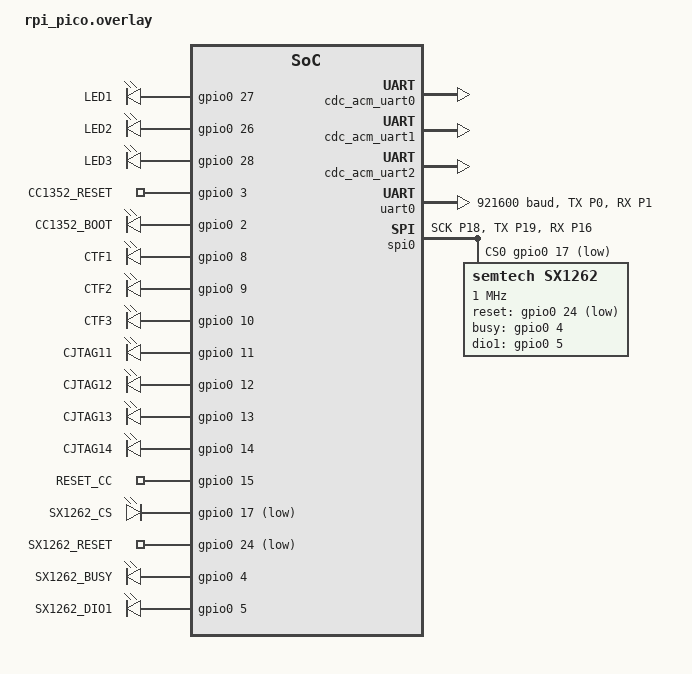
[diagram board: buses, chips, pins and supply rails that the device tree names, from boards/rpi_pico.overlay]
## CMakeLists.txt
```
# SPDX-License-Identifier: Apache-2.0

cmake_minimum_required(VERSION 3.13.1)
find_package(Zephyr REQUIRED HINTS $ENV{ZEPHYR_BASE})

project(catsniffer LANGUAGES C)

set(CATSNIFFER_FW_VERSION "" CACHE STRING "Firmware version label (for releases)")
if(DEFINED ENV{CATSNIFFER_FW_VERSION} AND NOT "$ENV{CATSNIFFER_FW_VERSION}" STREQUAL "")
    set(CATSNIFFER_FW_VERSION "$ENV{CATSNIFFER_FW_VERSION}" CACHE STRING "Firmware version label (for releases)" FORCE)
endif()

find_package(Git QUIET)
set(CATSNIFFER_GIT_SHA "unknown")
set(CATSNIFFER_GIT_DIRTY "unknown")
if(GIT_FOUND)
    execute_process(
        COMMAND ${GIT_EXECUTABLE} -C ${CMAKE_SOURCE_DIR} rev-parse --short HEAD
        OUTPUT_VARIABLE CATSNIFFER_GIT_SHA
        OUTPUT_STRIP_TRAILING_WHITESPACE
        ERROR_QUIET
    )
    execute_process(
        COMMAND ${GIT_EXECUTABLE} -C ${CMAKE_SOURCE_DIR} status --porcelain --untracked-files=no
        OUTPUT_VARIABLE CATSNIFFER_GIT_STATUS
        OUTPUT_STRIP_TRAILING_WHITESPACE
        ERROR_QUIET
    )
    if(CATSNIFFER_GIT_STATUS STREQUAL "")
        set(CATSNIFFER_GIT_DIRTY "clean")
    else()
        set(CATSNIFFER_GIT_DIRTY "dirty")
    endif()
endif()

if(NOT CATSNIFFER_FW_VERSION)
    set(CATSNIFFER_FW_VERSION "dev-${CATSNIFFER_GIT_SHA}-${CATSNIFFER_GIT_DIRTY}")
endif()

string(TIMESTAMP CATSNIFFER_BUILD_TIME_UTC "%Y-%m-%dT%H:%M:%SZ" UTC)
set(CATSNIFFER_COMPILER_ID "${CMAKE_C_COMPILER_ID}")
set(CATSNIFFER_COMPILER_VERSION "${CMAKE_C_COMPILER_VERSION}")

configure_file(
    ${CMAKE_SOURCE_DIR}/include/fw_version.h.in
    ${CMAKE_BINARY_DIR}/generated/fw_version.h
    @ONLY
)

target_include_directories(app PRIVATE ${CMAKE_SOURCE_DIR}/include)
target_include_directories(app PRIVATE ${CMAKE_BINARY_DIR}/generated)

# Include SX126x driver header for FSK functions
target_include_directories(app PRIVATE ${ZEPHYR_BASE}/drivers/lora/native/sx126x)

FILE(GLOB app_sources src/*.c)

# Add local usb init
target_sources_ifdef(CONFIG_USB_DEVICE_STACK_NEXT app PRIVATE
    src/USB/usbd_init.c
    src/shell_commands.c
)

target_sources(app PRIVATE ${app_sources})
```

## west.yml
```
manifest:
  version: "1.2"

  remotes:
    - name: wero1414
      url-base: https://github.com/wero1414

  projects:
    - name: zephyr
      remote: wero1414
      revision: fsk-native-driver
      import: true

  self:
    path: example-application
```

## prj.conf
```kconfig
# Copyright (c) 2021 Nordic Semiconductor ASA
# SPDX-License-Identifier: Apache-2.0
#
# This file contains selected Kconfig options for the application.

# Enable console over USB
CONFIG_SERIAL=y
CONFIG_UART_INTERRUPT_DRIVEN=y
CONFIG_UART_LINE_CTRL=y

# Use only the new USB device stack
CONFIG_USB_DEVICE_STACK_NEXT=y
CONFIG_USBD_CDC_ACM_CLASS=y

# ADD THESE SPI CONFIGURATIONS:
CONFIG_SPI=y
CONFIG_LORA=y
CONFIG_GPIO=y
CONFIG_FLASH=y
CONFIG_FLASH_MAP=y
CONFIG_NVS=y
CONFIG_SETTINGS=y
CONFIG_SETTINGS_NVS=y

# Use native SX126x driver
CONFIG_LORA_MODULE_BACKEND_NATIVE=y
# Old driver disabled (native driver will be used instead)
# CONFIG_LORA_SX126X=y

# Enable unique serial number from chip ID
CONFIG_HWINFO=y

# Optional: Logging levels for debugging
CONFIG_LOG=n
CONFIG_CONSOLE=n
CONFIG_UART_CONSOLE=n
CONFIG_LOG=n
CONFIG_PRINTK=n
CONFIG_USBD_LOG_LEVEL_WRN=n
CONFIG_UDC_DRIVER_LOG_LEVEL_WRN=n
CONFIG_USBD_CDC_ACM_LOG_LEVEL_ERR=n


# Optional: USB product strings
CONFIG_SAMPLE_USBD_PID=0xBABB
CONFIG_SAMPLE_USBD_PRODUCT="Catsniffer"
CONFIG_SAMPLE_USBD_MANUFACTURER="Electronic Cats"

# (legacy USB stack )
# CONFIG_USB_DEVICE_STACK=y
# CONFIG_USB_DEVICE_PRODUCT="Zephyr CDC ACM sample"
# CONFIG_USB_DEVICE_PID=0x0001
# CONFIG_USB_DEVICE_INITIALIZE_AT_BOOT=n
# CONFIG_USB_DRIVER_LOG_LEVEL_ERR=y
# CONFIG_USB_DEVICE_LOG_LEVEL_ERR=y
```

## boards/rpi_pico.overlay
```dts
/ {
    chosen {
        uart-cc1352 = &uart0;
        zephyr,settings-partition = &storage_partition;
    };

    aliases {
        pin-reset = &cc1352_reset;
        pin-boot = &cc1352_boot;
        led0 = &led_0;
        led1 = &led_1;
        led2 = &led_2;
        ctf1 = &ctf1_pin;
        ctf2 = &ctf2_pin;
        ctf3 = &ctf3_pin;
        cjtag0 = &cjtag0;
        cjtag1 = &cjtag1;
        cjtag2 = &cjtag2;
        cjtag3 = &cjtag3;
        cjtag-reset = &cjtag_reset;
        lora0 = &sx1262;
    };

    leds {
        compatible = "gpio-leds";
        led_0: led0 {
            gpios = <&gpio0 27 GPIO_ACTIVE_HIGH>;
            label = "LED1";
        };
        led_1: led1 {
            gpios = <&gpio0 26 GPIO_ACTIVE_HIGH>;
            label = "LED2";
        };
        led_2: led2 {
            gpios = <&gpio0 28 GPIO_ACTIVE_HIGH>;
            label = "LED3";
        };
    };

    gpio_pins {
        compatible = "gpio-leds";

        cc1352_reset: cc1352-reset {
            gpios = <&gpio0 3 GPIO_ACTIVE_HIGH>;
            label = "CC1352_RESET";
        };
        cc1352_boot: cc1352-boot {
            gpios = <&gpio0 2 GPIO_ACTIVE_HIGH>;
            label = "CC1352_BOOT";
        };
        ctf1_pin: ctf1 {
            gpios = <&gpio0 8 GPIO_ACTIVE_HIGH>;
            label = "CTF1";
        };
        ctf2_pin: ctf2 {
            gpios = <&gpio0 9 GPIO_ACTIVE_HIGH>;
            label = "CTF2";
        };
        ctf3_pin: ctf3 {
            gpios = <&gpio0 10 GPIO_ACTIVE_HIGH>;
            label = "CTF3";
        };

        cjtag0: cjtag0 {
            gpios = <&gpio0 11 GPIO_ACTIVE_HIGH>;
            label = "CJTAG11";
        };

        cjtag1: cjtag1 {
            gpios = <&gpio0 12 GPIO_ACTIVE_HIGH>;
            label = "CJTAG12";
        };

        cjtag2: cjtag2 {
            gpios = <&gpio0 13 GPIO_ACTIVE_HIGH>;
            label = "CJTAG13";
        };

        cjtag3: cjtag3 {
            gpios = <&gpio0 14 GPIO_ACTIVE_HIGH>;
            label = "CJTAG14";
        };

        cjtag_reset: cjtag-reset {
            gpios = <&gpio0 15 GPIO_ACTIVE_HIGH>;
            label = "RESET_CC";
        };

        sx1262_cs_pin: sx1262-cs {
            gpios = <&gpio0 17 GPIO_ACTIVE_LOW>;
            label = "SX1262_CS";
        };

        sx1262_reset_pin: sx1262-reset {
            gpios = <&gpio0 24 GPIO_ACTIVE_LOW>;
            label = "SX1262_RESET";
        };

        sx1262_busy_pin: sx1262-busy {
            gpios = <&gpio0 4 GPIO_ACTIVE_HIGH>;
            label = "SX1262_BUSY";
        };

        sx1262_dio1_pin: sx1262-dio1 {
            gpios = <&gpio0 5 GPIO_ACTIVE_HIGH>;
            label = "SX1262_DIO1";
        };
    };
};

&flash0 {
	partitions {
		/delete-node/ partition@100;

		code_partition: partition@100 {
			label = "code-partition";
			reg = <0x100 0x1eff00>;
			read-only;
		};

		storage_partition: partition@1f0000 {
			label = "storage";
			reg = <0x1f0000 0x10000>;
		};
	};
};

&zephyr_udc0 {
    cdc_acm_uart0: cdc_acm_uart0 {
        compatible = "zephyr,cdc-acm-uart";
        label = "Cat-Bridge";
    };

    cdc_acm_uart1: cdc_acm_uart1 {
        compatible = "zephyr,cdc-acm-uart";
        label = "Cat-LoRa";
    };

    cdc_acm_uart2: cdc_acm_uart2 {
        compatible = "zephyr,cdc-acm-uart";
        label = "Cat-Shell";
    };
};

&uart0 {
    current-speed = <921600>;
    status = "okay";
    pinctrl-0 = <&uart0_default>;
    pinctrl-names = "default";
};

// Enable and configure SPI for SX1262
&spi0 {
    status = "okay";
    pinctrl-0 = <&spi0_default>;
    pinctrl-names = "default";
    cs-gpios = <&gpio0 17 GPIO_ACTIVE_LOW>;

    sx1262: sx1262@0 {
        compatible = "semtech,sx1262";
        reg = <0>;
        spi-max-frequency = <1000000>;

        reset-gpios = <&gpio0 24 GPIO_ACTIVE_LOW>;
        busy-gpios = <&gpio0 4 GPIO_ACTIVE_HIGH>;
        dio1-gpios = <&gpio0 5 GPIO_ACTIVE_HIGH>;
    };
};

&pinctrl {
    uart0_default: uart0_default {
        group1 {
            pinmux = <UART0_TX_P0>;
        };
        group2 {
            pinmux = <UART0_RX_P1>;
            input-enable;
        };
    };

    spi0_default: spi0_default {
        group1 {
            pinmux = <SPI0_SCK_P18>, <SPI0_TX_P19>;  // GPIO18=SCK, GPIO19=COPI(MOSI)
        };
        group2 {
            pinmux = <SPI0_RX_P16>;  // GPIO16=CIPO(MISO)
            input-enable;
        };
    };
};


/*
 * ACTUAL PIN MAPPING FROM CATSNIFFER SCHEMATIC:
 *
 * SX1262 Signal  | Pico GPIO | Pico Pin | Function
 * ---------------|-----------|----------|----------
 * CS             | GPIO17    | Pin 22   | SPI Chip Select (JTAG/TDO when JTAG not used)
 * SCK            | GPIO18    | Pin 29   | SPI Clock
 * MOSI (COPI)    | GPIO19    | Pin 30   | SPI Master Out
 * MISO (CIPO)    | GPIO16    | Pin 27   | SPI Master In
 * RESET          | GPIO24    | Pin 36   | Reset (active low) -> RESET_SX
 * BUSY           | GPIO5     | Pin 6    | Busy indicator
 * DIO1           | GPIO6     | Pin 7    | Interrupt output
 *
 * Note: COPI = Controller Out Peripheral In (MOSI)
 *       CIPO = Controller In Peripheral Out (MISO)
 */
```

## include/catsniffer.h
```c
/*
 * Catsniffer Dual USB CDC-ACM Header
 * Eduardo Contreras @ Electronic Cats 2026
 */

#ifndef CATSNIFFER_H
#define CATSNIFFER_H

#include <zephyr/kernel.h>
#include <zephyr/device.h>
#include <zephyr/drivers/gpio.h>
#include <catsniffer_usbd.h>
#include <zephyr/drivers/uart.h>
#include <zephyr/sys/ring_buffer.h>
#include <zephyr/usb/usbd.h>
#include <zephyr/drivers/spi.h>
#include <zephyr/drivers/lora.h>
#include <zephyr/logging/log.h>
#include <zephyr/sys/util.h>
#include <string.h>
#include <stdlib.h>
#include <fw_version.h>

// Ring buffer and command buffer sizes
#define RING_BUF_SIZE 16384
#define COMMAND_BUF_SIZE 256

// Define Thead priorities
#define LORA_THREAD_PRIORITY K_PRIO_COOP(5)
#define MAIN_THREAD_PRIORITY K_PRIO_COOP(7)

// Helper macro to simplify GPIO setup
#define INIT_GPIO(name, flags)                                         \
	const struct gpio_dt_spec name =                               \
		GPIO_DT_SPEC_GET_OR(DT_ALIAS(name), gpios, { 0 });     \
	do {                                                           \
		if (!device_is_ready(name.port)) {                     \
			printk("Error: " #name " device not ready\n"); \
			return 1;                                      \
		}                                                      \
		gpio_pin_configure_dt(&name, flags);                   \
	} while (0)

// Mode definitions
enum MODE {
	PASSTHROUGH = 0, // CC1352 passthrough @ 921600 baud
	BOOT = 1,	 // CC1352 bootloader @ 500000 baud
};

// Band definitions
enum BAND {
	GIG = 0,      // 2.4GHz CC1352
	SUBGIG_1 = 1, // Sub-GHz CC1352
	SUBGIG_2 = 2  // LoRa SX1262
};

// LoRa mode definitions
enum LORA_MODE {
	LORA_MODE_STREAM = 0,  // Default: raw binary
	LORA_MODE_COMMAND = 1, // Text commands
};

// LoRa configuration structure
typedef struct {
	uint32_t frequency;		      // Hz (default: 915000000)
	uint8_t spreading_factor;	      // SF_7 to SF_12 (default: SF_7)
	enum lora_signal_bandwidth bandwidth; // BW_125_KHZ, BW_250_KHZ,
					      // BW_500_KHZ
	uint8_t coding_rate; // CR_4_5, CR_4_6, CR_4_7, CR_4_8 (default: CR_4_5)
	int8_t tx_power;     // -9 to 22 dBm (default: 20)
	uint16_t preamble_len;	// Default: 12
	bool iq_inverted;	// IQ inversion (default: false/normal)
	bool public_network;	// Sync word: false=private (0x12), true=public
				// (0x34)
	uint8_t lora_sync_word; // Custom sync word spec value (e.g. 0x2D for
				// Meshtastic). 0 = derive from public_network.
	bool config_pending;	// true if changes not yet applied
} lora_config_t;

// FSK configuration structure
typedef struct {
	uint32_t frequency; // Hz (default: 915000000)
	uint32_t bitrate;   // Bit rate in bps (default: 50000)
	uint32_t fdev;	    // Frequency deviation in Hz (default: 25000)
	enum lora_fsk_shaping shaping;	   // Gaussian BT shaping
					   // (LORA_FSK_SHAPING_*)
	enum lora_fsk_bandwidth bandwidth; // RX bandwidth (FSK_BW_* from
					   // lora.h)
	int8_t tx_power;		   // -9 to 22 dBm (default: 14)
	uint16_t preamble_len; // Preamble length in bytes (default: 5)
	uint8_t sync_word[8];  // Sync word bytes (default: 0x12, 0xAD)
	uint8_t sync_word_len; // Sync word length (default: 2)
	bool fixed_length;     // Fixed vs variable length packets
	uint8_t payload_len;   // Payload length for fixed mode
	bool crc_on;	       // Enable CRC (default: true)
	bool whitening;	       // Enable whitening (default: true)
	bool config_pending;   // true if changes not yet applied
} fsk_config_t;

// Catsniffer state structure
typedef struct {
	uint8_t mode;
	uint8_t band;
	unsigned long led_interval;
	int64_t previous_millis;
	unsigned long baud;
	bool command_recognized;
	uint8_t command_counter;
	char command_data[COMMAND_BUF_SIZE];
	size_t command_data_len;
	// LoRa state
	uint8_t lora_mode;	   // LORA_MODE_STREAM or LORA_MODE_COMMAND
	lora_config_t lora_config; // Current LoRa configuration
	bool lora_initialized;	   // Track initialization state
	bool lora_config_lock;	   // Lock flag to pause LoRa operations during
				   // reconfiguration
	// FSK state
	enum lora_modulation current_modulation; // LORA_MOD_LORA or
						 // LORA_MOD_FSK
	fsk_config_t fsk_config;		 // Current FSK configuration
	bool fsk_initialized; // Track FSK initialization state
	// Packet loss counters (CC1352 UART bridge)
	uint32_t uart_overrun_count;  // UART hardware FIFO overrun events
	uint32_t ring_overflow_count; // Bytes dropped due to ring buffer full
	// Identify state
	bool led_identify; // true while identify LED blink sequence is active
} catsniffer_t;

// Global catsniffer instance
extern catsniffer_t catsniffer;

// LoRa command format (CDC1):
// TX <hex_data>     - Send LoRa packet (e.g., "TX 48656C6C6F")
// RX [timeout_ms]   - Enter receive mode (e.g., "RX 5000" or "RX" for
// continuous) FREQ <frequency>  - Set frequency in Hz (e.g., "FREQ 868000000")
// SF <7-12>         - Set spreading factor (e.g., "SF 7")
// PWR <-9 to 22>    - Set TX power in dBm (e.g., "PWR 14")
// STATUS            - Get device status

// Function prototypes
void reset_cc1352(void);
void boot_mode_cc1352(void);
void change_baud(unsigned long new_baud);
void change_band(unsigned long new_band);
void change_mode(unsigned long new_mode);
void process_lora_command(char *cmd_line);
int queue_radio_command(const char *cmd_line);
int apply_lora_config(void);

// FSK function prototypes
int apply_fsk_config(void);
int switch_to_lora(void);
int switch_to_fsk(void);

#endif /* CATSNIFFER_H */
```

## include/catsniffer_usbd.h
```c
/*
 * Copyright (c) 2023 Nordic Semiconductor ASA.
 *
 * SPDX-License-Identifier: Apache-2.0
 */

#ifndef ZEPHYR_SUBSYS_USBD_H
#define ZEPHYR_SUBSYS_USBD_H

#include <stdint.h>
#include <zephyr/usb/usbd.h>

/*
 * This function uses Kconfig.sample_usbd options to configure and initialize a
 * USB device. It configures sample's device context, default string descriptors,
 * USB device configuration, registers any available class instances, and
 * finally initializes USB device. It is limited to a single device with a
 * single configuration instantiated in sample_usbd_init.c, which should be
 * enough for a simple USB device sample.
 *
 * It returns the configured and initialized USB device context on success,
 * otherwise it returns NULL.
 */
struct usbd_context* usbd_init_device(usbd_msg_cb_t msg_cb);

/*
 * This function is similar to sample_usbd_init_device(), but does not
 * initialize the device. It allows the application to set additional features,
 * such as additional descriptors.
 */
struct usbd_context* usbd_setup_device(usbd_msg_cb_t msg_cb);

#endif /* ZEPHYR_SAMPLES_SUBSYS_USB_COMMON_SAMPLE_USBD_H */
```

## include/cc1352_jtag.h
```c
#ifndef CC1352_JTAG_H
#define CC1352_JTAG_H

#include <stdbool.h>
#include <stdint.h>

struct cc1352_jtag_status {
	bool pins_ready;
	bool switched_to_4wire;
	bool cpu_tap_enabled;
	bool chain_detected;
	int chain_taps;
	int cpu_tap_index;
	int jrc_tap_index;
	uint32_t jrc_idcode;
	uint32_t cpu_idcode;
	uint32_t last_dhcsr;
	bool data_pins_swapped;
	bool reset_active_low;
	uint8_t reset_ctrl_level;
	uint8_t reset_obs_level;
	uint8_t reset_source;
	uint8_t tck_pin;
	uint8_t tms_pin;
	uint8_t tdi_pin;
	uint8_t tdo_pin;
};

struct cc1352_jtag_diag {
	uint32_t direct_jrc_id[2];
	uint32_t switched_jrc_id[2];
	uint8_t tdo_pull_up_level[2];
	uint8_t tdo_pull_down_level[2];
};

int cc1352_jtag_init_sequence(void);
int cc1352_jtag_read_idcodes(uint32_t *jrc_id, uint32_t *cpu_id);
int cc1352_jtag_halt_cpu(uint32_t *dhcsr_out);
void cc1352_jtag_get_status(struct cc1352_jtag_status *status);
int cc1352_jtag_diag_probe(struct cc1352_jtag_diag *diag);
const char *cc1352_jtag_strerror(int err);

#endif /* CC1352_JTAG_H */
```

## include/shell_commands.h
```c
/*
 * shell_commands.h - Shell Command Parser Interface
 */

#ifndef SHELL_COMMANDS_H
#define SHELL_COMMANDS_H

#include <stddef.h>

// Parse and execute a command line (null-terminated string)
void process_command(char* cmd, size_t len);

#endif
```

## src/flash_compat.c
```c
#include <stddef.h>
#include <stdint.h>
#include <string.h>

#include <hardware/flash.h>

#define PAGE_SIZE 256U

/*
 * Compatibility shim for RP2040 Zephyr/Pico SDK combinations where
 * flash_write_partial() is referenced by the flash driver but not provided.
 */
__attribute__((weak)) void flash_write_partial(uint32_t offset,
					       const uint8_t *data,
					       size_t size)
{
	uint32_t page_base = offset & ~(PAGE_SIZE - 1U);
	uint32_t page_offset = offset - page_base;
	uint8_t page_buf[PAGE_SIZE];

	memcpy(page_buf, (const void *)(CONFIG_FLASH_BASE_ADDRESS + page_base),
	       PAGE_SIZE);
	memcpy(&page_buf[page_offset], data, size);
	flash_range_program(page_base, page_buf, PAGE_SIZE);
}
```

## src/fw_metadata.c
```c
#include "fw_metadata.h"

#include <errno.h>
#include <string.h>
#include <zephyr/kvss/nvs.h>
#include <zephyr/storage/flash_map.h>
#include <zephyr/sys/util.h>

static const char *const official_fw_ids[] = {
	"sniffle",
	"ti_sniffer",
	"catsniffer_v3",
	"airtag_spoofer_cc1352p7",
	"airtag_scanner_cc1352p7",
};

static struct nvs_fs fs;
static char stored_cc1352_fw_id[CC1352_FW_ID_MAX_LEN];
static int has_fw_id;
static int initialized;
static int storage_unavailable;

#define FW_META_NVS_ID_CC1352_FW_ID 1
#define FW_META_STORAGE_SECTOR_COUNT 2

static int fw_metadata_validate_id(const char *fw_id)
{
	size_t len;

	if (fw_id == NULL) {
		return -EINVAL;
	}

	len = strlen(fw_id);
	if (len == 0 || len >= CC1352_FW_ID_MAX_LEN) {
		return -EINVAL;
	}

	for (size_t i = 0; i < len; i++) {
		char c = fw_id[i];
		int is_alnum = (c >= '0' && c <= '9') ||
			       (c >= 'A' && c <= 'Z') || (c >= 'a' && c <= 'z');
		if (!is_alnum && c != '_' && c != '-' && c != '.') {
			return -EINVAL;
		}
	}

	return 0;
}

int fw_metadata_init(void)
{
	const struct flash_area *fa;
	char tmp[CC1352_FW_ID_MAX_LEN];
	ssize_t len;
	int rc;

	if (initialized) {
		return 0;
	}

	rc = flash_area_open(FIXED_PARTITION_ID(storage_partition), &fa);
	if (rc < 0) {
		storage_unavailable = 1;
		return rc;
	}

	fs.flash_device = fa->fa_dev;
	fs.offset = fa->fa_off;
	fs.sector_size = fa->fa_size / FW_META_STORAGE_SECTOR_COUNT;
	fs.sector_count = FW_META_STORAGE_SECTOR_COUNT;

	rc = nvs_mount(&fs);
	flash_area_close(fa);
	if (rc < 0) {
		storage_unavailable = 1;
		return rc;
	}

	memset(stored_cc1352_fw_id, 0, sizeof(stored_cc1352_fw_id));
	has_fw_id = 0;

	len = nvs_read(&fs, FW_META_NVS_ID_CC1352_FW_ID, tmp, sizeof(tmp) - 1);
	if (len > 0) {
		tmp[len] = '\0';
		if (fw_metadata_validate_id(tmp) == 0) {
			strncpy(stored_cc1352_fw_id, tmp,
				sizeof(stored_cc1352_fw_id) - 1);
			has_fw_id = 1;
		}
	}

	initialized = 1;
	return 0;
}

int fw_metadata_set_cc1352_fw_id(const char *fw_id)
{
	int rc;

	rc = fw_metadata_validate_id(fw_id);
	if (rc < 0) {
		return rc;
	}

	if (!initialized) {
		rc = fw_metadata_init();
		if (rc < 0) {
			return rc;
		}
	}

	rc = nvs_write(&fs, FW_META_NVS_ID_CC1352_FW_ID, fw_id, strlen(fw_id));
	if (rc < 0) {
		return rc;
	}

	memset(stored_cc1352_fw_id, 0, sizeof(stored_cc1352_fw_id));
	strncpy(stored_cc1352_fw_id, fw_id, sizeof(stored_cc1352_fw_id) - 1);
	has_fw_id = 1;
	return 0;
}

int fw_metadata_get_cc1352_fw_id(char *buf, size_t buf_len)
{
	if (!initialized) {
		int rc = fw_metadata_init();
		if (rc < 0) {
			return rc;
		}
	}

	if (!has_fw_id) {
		return -ENOENT;
	}

	if (buf == NULL || buf_len == 0) {
		return -EINVAL;
	}

	strncpy(buf, stored_cc1352_fw_id, buf_len - 1);
	buf[buf_len - 1] = '\0';
	return 0;
}

int fw_metadata_clear_cc1352_fw_id(void)
{
	int rc;

	if (!initialized) {
		rc = fw_metadata_init();
		if (rc < 0) {
			return rc;
		}
	}

	rc = nvs_delete(&fs, FW_META_NVS_ID_CC1352_FW_ID);
	if (rc < 0) {
		return rc;
	}

	memset(stored_cc1352_fw_id, 0, sizeof(stored_cc1352_fw_id));
	has_fw_id = 0;
	return 0;
}

int fw_metadata_has_cc1352_fw_id(void)
{
	if (!initialized && !storage_unavailable) {
		(void)fw_metadata_init();
	}
	return has_fw_id;
}

int fw_metadata_is_official_cc1352_fw_id(const char *fw_id)
{
	for (size_t i = 0; i < ARRAY_SIZE(official_fw_ids); i++) {
		if (strcmp(fw_id, official_fw_ids[i]) == 0) {
			return 1;
		}
	}
	return 0;
}

const char *fw_metadata_official_id_by_index(size_t index)
{
	if (index >= ARRAY_SIZE(official_fw_ids)) {
		return NULL;
	}
	return official_fw_ids[index];
}

size_t fw_metadata_official_id_count(void)
{
	return ARRAY_SIZE(official_fw_ids);
}
```
